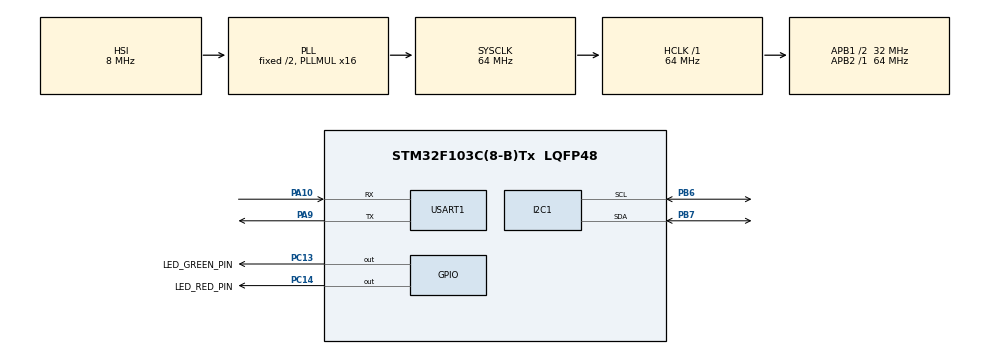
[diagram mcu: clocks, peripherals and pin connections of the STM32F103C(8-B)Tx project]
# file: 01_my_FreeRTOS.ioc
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FREERTOS.Tasks01=defaultTask,24,128,StartDefaultTask,Default,NULL,Dynamic,NULL,NULL
Mcu.Family=STM32F1
Mcu.Name=STM32F103C(8-B)Tx
Mcu.Package=LQFP48
NVIC.PriorityGroup=NVIC_PRIORITYGROUP_4
NVIC.TIM4_IRQn=true\:15\:0\:false\:false\:true\:false\:false\:true\:true
NVIC.TimeBase=TIM4_IRQn
NVIC.TimeBaseIP=TIM4
PA10.Mode=Asynchronous
PA10.Signal=USART1_RX
PA13.Mode=Serial_Wire
PA13.Signal=SYS_JTMS-SWDIO
PA14.Mode=Serial_Wire
PA14.Signal=SYS_JTCK-SWCLK
PA9.Mode=Asynchronous
PA9.Signal=USART1_TX
PB6.Mode=I2C
PB6.Signal=I2C1_SCL
PB7.Mode=I2C
PB7.Signal=I2C1_SDA
PC13-TAMPER-RTC.GPIO_Label=LED_GREEN_PIN
PC13-TAMPER-RTC.Signal=GPIO_Output
PC14-OSC32_IN.GPIO_Label=LED_RED_PIN
PC14-OSC32_IN.Signal=GPIO_Output
ProjectManager.HeapSize=0x200
ProjectManager.StackSize=0x400
ProjectManager.TargetToolchain=CMake
RCC.AHBFreq_Value=64000000
RCC.APB1CLKDivider=RCC_HCLK_DIV2
RCC.APB1Freq_Value=32000000
RCC.APB1TimFreq_Value=64000000
RCC.APB2Freq_Value=64000000
RCC.APB2TimFreq_Value=64000000
RCC.HCLKFreq_Value=64000000
RCC.PLLMUL=RCC_PLL_MUL16
RCC.SYSCLKFreq_VALUE=64000000
RCC.SYSCLKSource=RCC_SYSCLKSOURCE_PLLCLK
RCC.USBFreq_Value=64000000
USART1.VirtualMode=VM_ASYNC
VP_FREERTOS_VS_CMSIS_V2.Mode=CMSIS_V2
VP_SYS_VS_tim4.Mode=TIM4
board=custom

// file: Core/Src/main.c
/* USER CODE BEGIN Header */
/**
  ******************************************************************************
  * @file           : main.c
  * @brief          : Main program body
  ******************************************************************************
  * @attention
  *
  * Copyright (c) 2025 STMicroelectronics.
  * All rights reserved.
  *
  * This software is licensed under terms that can be found in the LICENSE file
  * in the root directory of this software component.
  * If no LICENSE file comes with this software, it is provided AS-IS.
  *
  ******************************************************************************
  */
/* USER CODE END Header */
#include "main.h"
#include "cmsis_os.h"
#include "i2c.h"
#include "usart.h"
#include "gpio.h"

/* USER CODE BEGIN Includes */
#include "bsp_clock.h"
#include "bsp_delay.h"
#include "bsp_i2c.h"
#include "bsp_print.h"
#include "driver_led.h"
/* USER CODE END Includes */

void SystemClock_Config(void);
void MX_FREERTOS_Init(void);

int main(void)
{

  /* MCU Configuration--------------------------------------------------------*/

  /* Reset of all peripherals, Initializes the Flash interface and the Systick. */
  HAL_Init();

  /* Configure the system clock */
  SystemClock_Config();

  /* Initialize all configured peripherals */
  MX_GPIO_Init();
  MX_I2C1_Init();
  MX_USART1_UART_Init();

  /* Init scheduler */
  osKernelInitialize();

  /* Call init function for freertos objects (in cmsis_os2.c) */
  MX_FREERTOS_Init();

  /* Start scheduler */
  osKernelStart();

  /* We should never get here as control is now taken by the scheduler */

  /* Infinite loop */
  while (1)
  {

  }
}

void SystemClock_Config(void)
{
  RCC_OscInitTypeDef RCC_OscInitStruct = {0};
  RCC_ClkInitTypeDef RCC_ClkInitStruct = {0};

  /** Initializes the RCC Oscillators according to the specified parameters
  * in the RCC_OscInitTypeDef structure.
  */
  RCC_OscInitStruct.OscillatorType = RCC_OSCILLATORTYPE_HSI;
  RCC_OscInitStruct.HSIState = RCC_HSI_ON;
  RCC_OscInitStruct.HSICalibrationValue = RCC_HSICALIBRATION_DEFAULT;
  RCC_OscInitStruct.PLL.PLLState = RCC_PLL_ON;
  RCC_OscInitStruct.PLL.PLLSource = RCC_PLLSOURCE_HSI_DIV2;
  RCC_OscInitStruct.PLL.PLLMUL = RCC_PLL_MUL16;
  if (HAL_RCC_OscConfig(&RCC_OscInitStruct) != HAL_OK)
  {
    Error_Handler();
  }

  /** Initializes the CPU, AHB and APB buses clocks
  */
  RCC_ClkInitStruct.ClockType = RCC_CLOCKTYPE_HCLK|RCC_CLOCKTYPE_SYSCLK
                              |RCC_CLOCKTYPE_PCLK1|RCC_CLOCKTYPE_PCLK2;
  RCC_ClkInitStruct.SYSCLKSource = RCC_SYSCLKSOURCE_PLLCLK;
  RCC_ClkInitStruct.AHBCLKDivider = RCC_SYSCLK_DIV1;
  RCC_ClkInitStruct.APB1CLKDivider = RCC_HCLK_DIV2;
  RCC_ClkInitStruct.APB2CLKDivider = RCC_HCLK_DIV1;

  if (HAL_RCC_ClockConfig(&RCC_ClkInitStruct, FLASH_LATENCY_2) != HAL_OK)
  {
    Error_Handler();
  }
}

void HAL_TIM_PeriodElapsedCallback(TIM_HandleTypeDef *htim)
{
  if (htim->Instance == TIM4) {
    HAL_IncTick();
  }
}

void Error_Handler(void)
{
  __disable_irq();
  while (1)
  {
  }
}

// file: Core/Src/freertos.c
/* USER CODE BEGIN Header */
/**
  ******************************************************************************
  * File Name          : freertos.c
  * Description        : Code for freertos applications
  ******************************************************************************
  * @attention
  *
  * Copyright (c) 2025 STMicroelectronics.
  * All rights reserved.
  *
  * This software is licensed under terms that can be found in the LICENSE file
  * in the root directory of this software component.
  * If no LICENSE file comes with this software, it is provided AS-IS.
  *
  ******************************************************************************
  */
/* USER CODE END Header */

#include "FreeRTOS.h"
#include "task.h"
#include "main.h"
#include "cmsis_os.h"

/* USER CODE BEGIN Includes */
#include "bsp_clock.h"
#include "bsp_delay.h"
#include "bsp_i2c.h"
#include "bsp_print.h"
#include "driver_led.h"
/* USER CODE END Includes */

/* Definitions for defaultTask */
osThreadId_t defaultTaskHandle;
const osThreadAttr_t defaultTask_attributes = {
  .name = "defaultTask",
  .stack_size = 128 * 4,
  .priority = (osPriority_t) osPriorityNormal,
};

/* USER CODE BEGIN FunctionPrototypes */
void MyUsartTask(void *argument);
void MyLedTask(void *argument);
/* USER CODE END FunctionPrototypes */

void StartDefaultTask(void *argument);

void MX_FREERTOS_Init(void); /* (MISRA C 2004 rule 8.1) */

void MX_FREERTOS_Init(void) {

  /* Create the thread(s) */
  /* creation of defaultTask */
  defaultTaskHandle = osThreadNew(StartDefaultTask, NULL, &defaultTask_attributes);

  /* USER CODE BEGIN RTOS_THREADS */
  /* add threads, ... */
  xTaskCreate(MyUsartTask, "MyUsartTask", 128, NULL, osPriorityNormal, NULL);
  xTaskCreate(MyLedTask, "MyLedTask", 128, NULL, osPriorityNormal, NULL);
  /* USER CODE END RTOS_THREADS */

}

void StartDefaultTask(void *argument)
{
  /* USER CODE BEGIN StartDefaultTask */
  /* Infinite loop */
  for(;;)
  {
    // osDelay(1);
    Led_Test_Green();
  }
  /* USER CODE END StartDefaultTask */
}

/* USER CODE BEGIN Application */
void MyUsartTask(void *argument){
  while(1){
    printf("MyUsartTask success!\n");
    delay_ms(500);
  }
}
void MyLedTask(void *argument){
  while(1){
    Led_Test_Red();
  }
}
/* USER CODE END Application */
